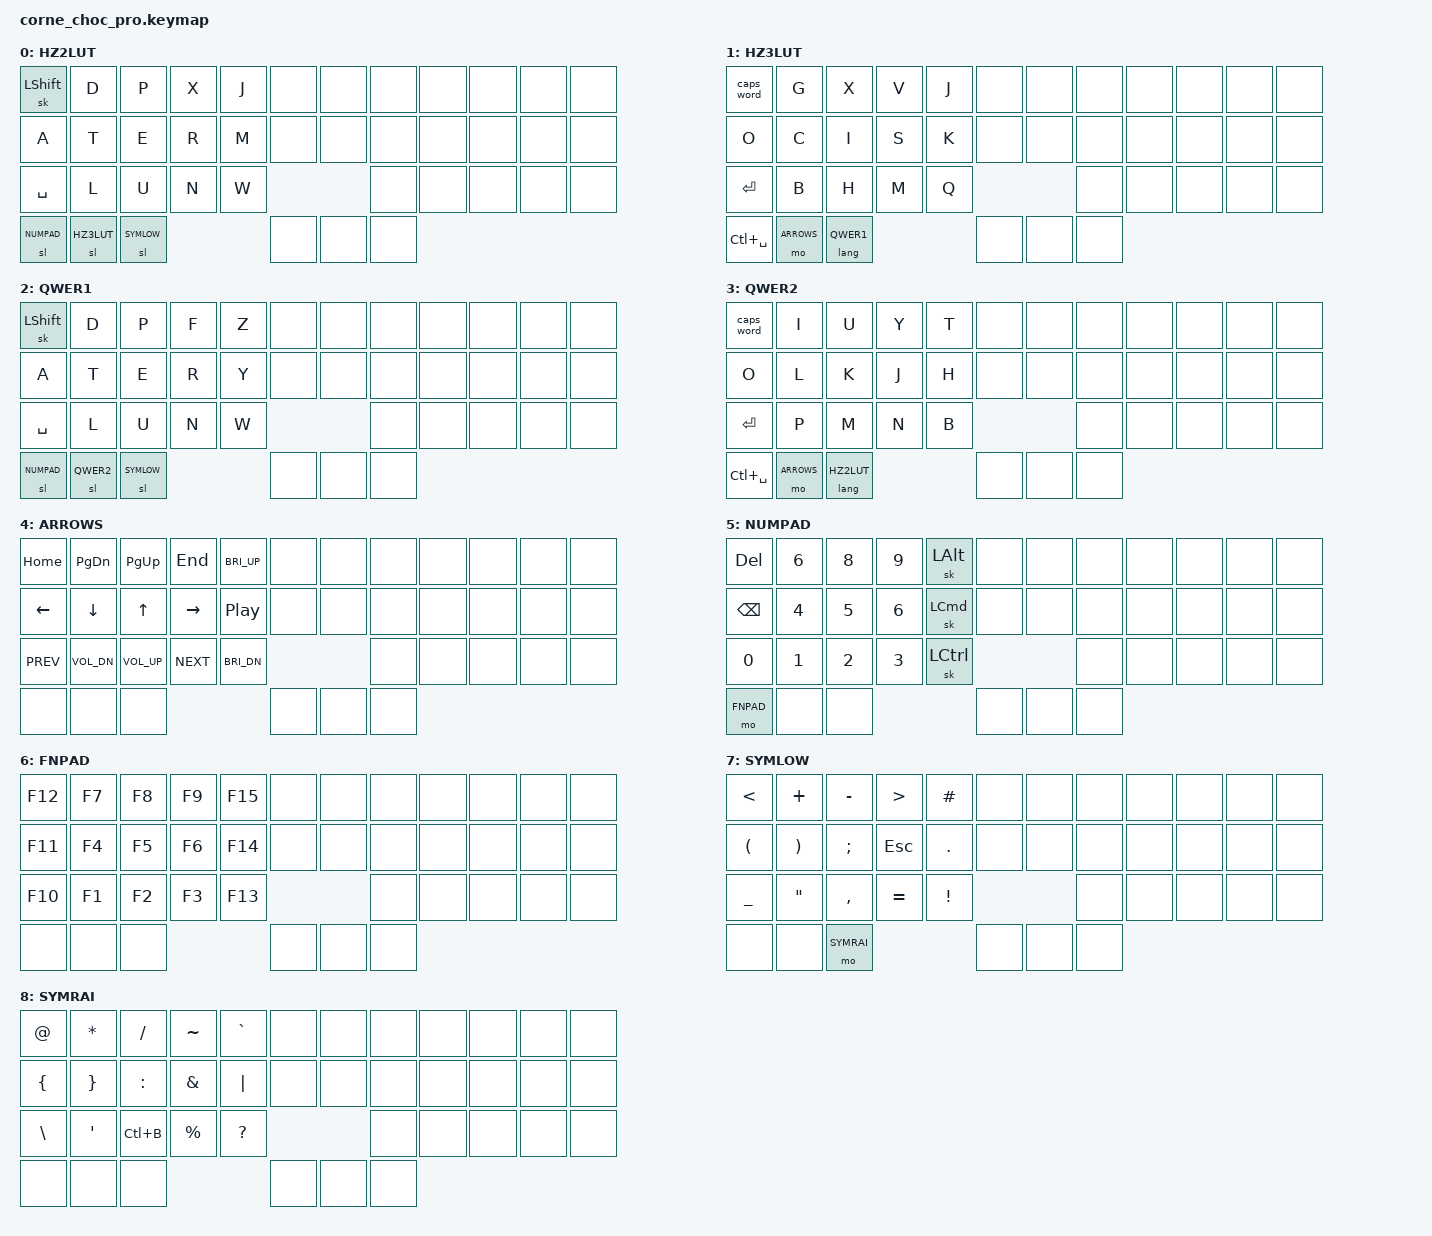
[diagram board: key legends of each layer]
/*
 * Copyright (c) 2020 The ZMK Contributors
 *
 * SPDX-License-Identifier: MIT
 */

#include <behaviors.dtsi>
#include <dt-bindings/zmk/keys.h>
#include <dt-bindings/zmk/bt.h>

#define HZ2LUT 0
#define HZ3LUT 1
#define QWER1  2
#define QWER2  3
#define ARROWS 4
#define NUMPAD 5
#define FNPAD  6
#define SYMLOW 7
#define SYMRAI 8

/ {
   chosen {
      zmk,physical-layout = &five_col_layout;
   };
};

&sl {
    release-after-ms = <500>;
};

&sk {
    release-after-ms = <500>;
};

/ {
   macros {
lang: lang {
          compatible = "zmk,behavior-macro-one-param";
          wait-ms = <0>;
          tap-ms = <0>;
#binding-cells = <1>;
          bindings =
             <&macro_tap &kp LC(SPACE)>
             , <&macro_param_1to1>
             , <&macro_tap &to MACRO_PLACEHOLDER>;
       };
   };
   combos {
      compatible = "zmk,combos";
      combo_caps {
         timeout-ms = <50>;
         key-positions = <1 2>;
         bindings = <&kp CAPS>;
         layers = <5>;
      };
      combo_ins {
         timeout-ms = <50>;
         key-positions = <2 3>;
         bindings = <&kp INS>;
         layers = <5>;
      };
      combo_bt_clr {
         timeout-ms = <50>;
         key-positions = <14 15>;
         bindings = <&bt BT_CLR>;
         layers = <5>;
      };
      combo_bt_0 {
         timeout-ms = <50>;
         key-positions = <24 25>;
         bindings = <&bt BT_SEL 0>;
         layers = <5>;
      };
      combo_bt_1 {
         timeout-ms = <50>;
         key-positions = <25 26>;
         bindings = <&bt BT_SEL 1>;
         layers = <5>;
      };
      combo_bt_2 {
         timeout-ms = <50>;
         key-positions = <26 27>;
         bindings = <&bt BT_SEL 2>;
         layers = <5>;
      };
      combo_lbkt {
         timeout-ms = <50>;
         key-positions = <0 1>;
         bindings = <&kp LBKT>;
         layers = <7>;
      };
      combo_rbkt {
         timeout-ms = <50>;
         key-positions = <3 4>;
         bindings = <&kp RBKT>;
         layers = <7>;
      };
      combo_caret {
         timeout-ms = <50>;
         key-positions = <24 25>;
         bindings = <&kp CARET>;
         layers = <7>;
      };
      combo_dllr {
         timeout-ms = <50>;
         key-positions = <27 28>;
         bindings = <&kp DLLR>;
         layers = <7>;
      };
   };
   keymap {
      compatible = "zmk,keymap";

      hz2lut_layer {
         display-name = "HZ2LUT";
         bindings = <
            &sk LSHFT &kp D &kp P &kp X &kp J &none &none &none &none &none &none &none
            &kp A     &kp T &kp E &kp R &kp M &none &none &none &none &none &none &none
            &kp SPACE &kp L &kp U &kp N &kp W             &none &none &none &none &none
            &sl NUMPAD &sl HZ3LUT &sl SYMLOW &none &none &none
            >;
      };
      hz3lut_layer {
         display-name = "HZ3LUT";
         bindings = <
            &caps_word &kp G &kp X &kp V &kp J &none &none &none &none &none &none &none
            &kp O      &kp C &kp I &kp S &kp K &none &none &none &none &none &none &none
            &kp RET    &kp B &kp H &kp M &kp Q             &none &none &none &none &none
            &kp LC(SPACE) &mo ARROWS &lang QWER1 &none &none &none
            >;
      };
      qwer1_layer {
         display-name = "QWER1";
         bindings = <
            &sk LSHFT &kp D &kp P &kp F &kp Z &none &none &none &none &none &none &none
            &kp A     &kp T &kp E &kp R &kp Y &none &none &none &none &none &none &none
            &kp SPACE &kp L &kp U &kp N &kp W             &none &none &none &none &none
            &sl NUMPAD &sl QWER2 &sl SYMLOW &none &none &none
            >;
      };
      qwer2_layer {
         display-name = "QWER2";
         bindings = <
            &caps_word &kp I &kp U &kp Y &kp T &none &none &none &none &none &none &none
            &kp O      &kp L &kp K &kp J &kp H &none &none &none &none &none &none &none
            &kp RET    &kp P &kp M &kp N &kp B             &none &none &none &none &none
            &kp LC(SPACE) &mo ARROWS &lang HZ2LUT &none &none &none
            >;
      };
      arrows_layer {
         display-name = "ARROWS";
         bindings = <
            &kp HOME   &kp PG_DN    &kp PG_UP    &kp END    &kp C_BRI_UP &none &none &none &none &none &none &none
            &kp LEFT   &kp DOWN     &kp UP       &kp RIGHT  &kp C_PP     &none &none &none &none &none &none &none
            &kp C_PREV &kp C_VOL_DN &kp C_VOL_UP &kp C_NEXT &kp C_BRI_DN             &none &none &none &none &none
            &none &none &none &none &none &none
            >;
      };
      numpad_layer {
         display-name = "NUMPAD";
         bindings = <
            &kp DEL  &kp N6 &kp N8 &kp N9 &sk LALT  &none &none &none &none &none &none &none
            &kp BSPC &kp N4 &kp N5 &kp N6 &sk LCMD  &none &none &none &none &none &none &none
            &kp N0   &kp N1 &kp N2 &kp N3 &sk LCTRL                &none &none &none &none &none
            &mo FNPAD &none &none &none &none &none
            >;
      };
      fnpad_layer {
         display-name = "FNPAD";
         bindings = <
            &kp F12 &kp F7 &kp F8 &kp F9 &kp F15 &none &none &none &none &none &none &none
            &kp F11 &kp F4 &kp F5 &kp F6 &kp F14 &none &none &none &none &none &none &none
            &kp F10 &kp F1 &kp F2 &kp F3 &kp F13             &none &none &none &none &none
            &none &none &none &none &none &none
            >;
      };
      symlow_layer {
         display-name = "SYMLOW";
         bindings = <
            &kp LT    &kp PLUS &kp MINUS &kp GT  &kp HASH &none &none &none &none &none &none &none
            &kp LPRN  &kp RPRN &kp SEMI  &kp ESC &kp DOT  &none &none &none &none &none &none &none
            &kp UNDER &kp DQT  &kp COMMA &kp EQL &kp EXCL             &none &none &none &none &none
            &none &none &mo SYMRAI &none &none &none
            >;
      };
      symrai_layer {
         display-name = "SYMRAI";
         bindings = <
            &kp AT   &kp STAR &kp FSLH  &kp TILDE &kp GRAVE &none &none &none &none &none &none &none
            &kp LBRC &kp RBRC &kp COLON &kp AMPS  &kp PIPE  &none &none &none &none &none &none &none
            &kp BSLH &kp SQT  &kp LC(B) &kp PRCNT &kp QMARK             &none &none &none &none &none
            &none &none &none &none &none &none
            >;
      };
   };
};
